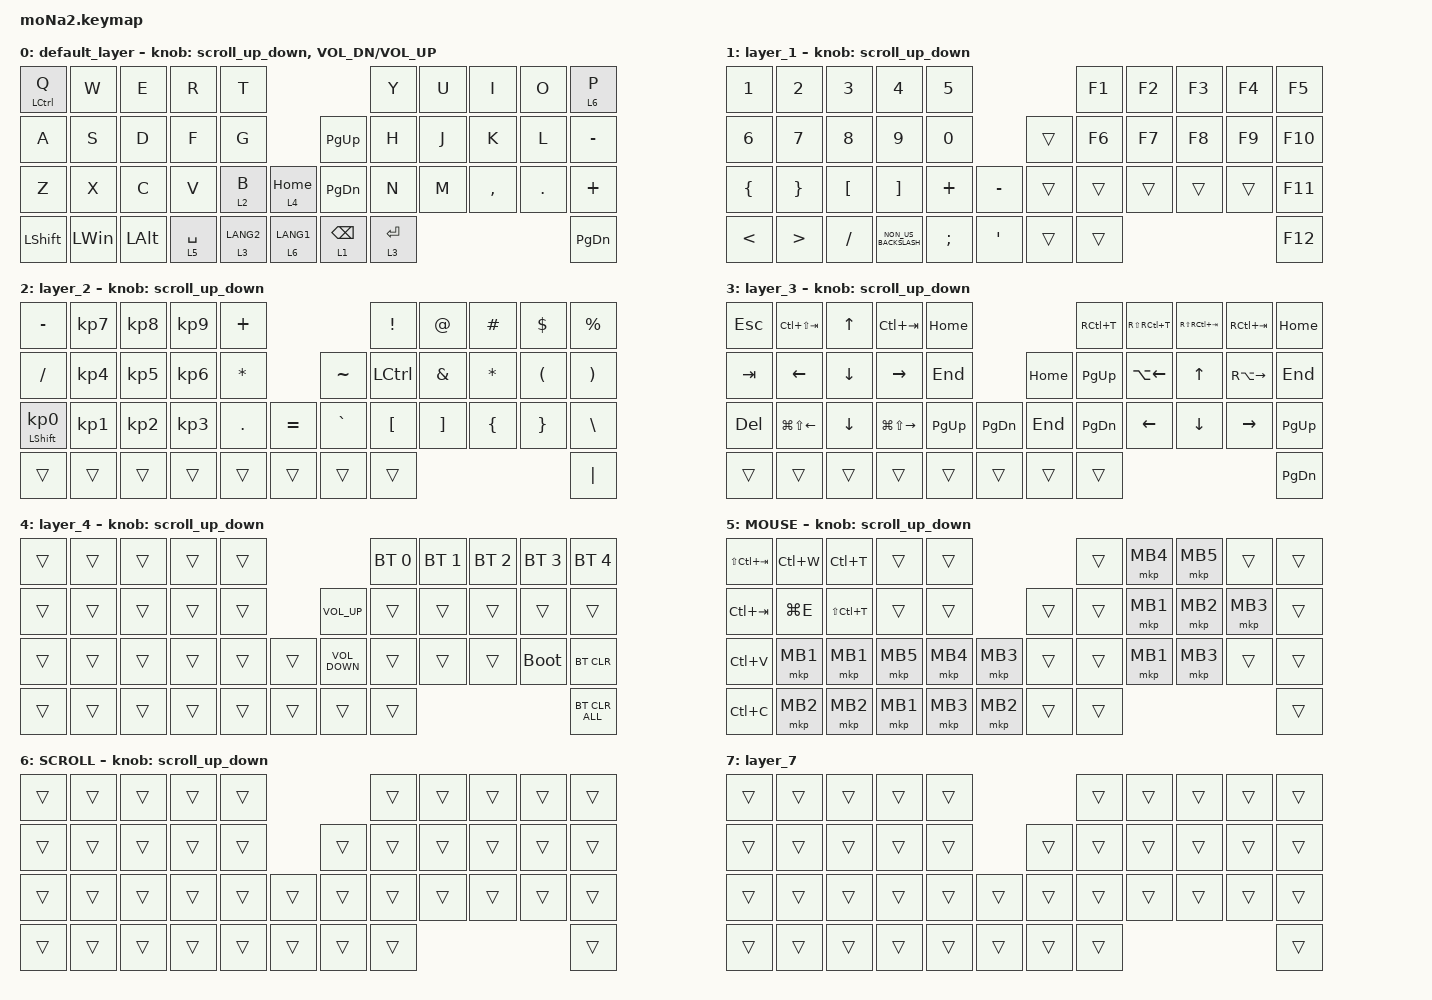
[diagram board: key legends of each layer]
#include <behaviors.dtsi>
#include <dt-bindings/zmk/bt.h>
#include <dt-bindings/zmk/keys.h>
#include <dt-bindings/zmk/pointing.h>

#define ZMK_POINTING_DEFAULT_SCRL_VAL 100
#define MOUSE 5
#define SCROLL 6

&mt {
    flavor = "balanced";
    quick-tap-ms = <0>;
};

/ {
    combos { compatible = "zmk,combos"; };

    macros {
        to_layer_0: to_layer_0 {
            compatible = "zmk,behavior-macro-one-param";
            #binding-cells = <1>;
            bindings = <&to 1 &macro_param_1to1 &kp MACRO_PLACEHOLDER>;
            label = "TO_LAYER_0";
        };
    };

    behaviors {
        lt_to_layer_0: lt_to_layer_0 {
            compatible = "zmk,behavior-hold-tap";
            label = "LAYER_TAP_TO_0";
            bindings = <&mo>, <&to_layer_0>;

            #binding-cells = <2>;
            tapping-term-ms = <200>;
        };

        scroll_up_down: behavior_sensor_rotate_mouse_wheel_up_down {
            compatible = "zmk,behavior-sensor-rotate";
            #sensor-binding-cells = <0>;
            bindings = <&msc SCRL_UP>, <&msc SCRL_DOWN>;

            tap-ms = <20>;
        };
    };

    keymap {
        compatible = "zmk,keymap";

        default_layer {
            bindings = <
&mt LCTRL Q  &kp W         &kp E         &kp R        &kp T                                        &kp Y        &kp U  &kp I      &kp O    &lt 6 P
&kp A        &kp S         &kp D         &kp F        &kp G                       &kp PAGE_UP      &kp H        &kp J  &kp K      &kp L    &kp MINUS
&kp Z        &kp X         &kp C         &kp V        &lt 2 B      &lt 4 HOME     &kp PAGE_DOWN    &kp N        &kp M  &kp COMMA  &kp DOT  &kp PLUS
&kp LSHFT    &kp LEFT_WIN  &kp LEFT_ALT  &lt 5 SPACE  &lt 3 LANG2  &lt 6 LANG1    &lt 1 BACKSPACE  &lt 3 ENTER                             &kp PAGE_DOWN
            >;

            sensor-bindings =
                <&scroll_up_down>,
                <&inc_dec_kp C_VOL_DN C_VOL_UP>;
        };

        layer_1 {
            bindings = <
&kp N1          &kp N2            &kp N3            &kp N4                &kp N5                              &kp F1  &kp F2  &kp F3  &kp F4  &kp F5
&kp N6          &kp N7            &kp N8            &kp N9                &kp N0                      &trans  &kp F6  &kp F7  &kp F8  &kp F9  &kp F10
&kp LEFT_BRACE  &kp RIGHT_BRACE   &kp LEFT_BRACKET  &kp RIGHT_BRACKET     &kp PLUS       &kp MINUS    &trans  &trans  &trans  &trans  &trans  &kp F11
&kp LESS_THAN   &kp GREATER_THAN  &kp SLASH         &kp NON_US_BACKSLASH  &kp SEMICOLON  &kp SQT      &trans  &trans                          &kp F12
            >;

            sensor-bindings = <&scroll_up_down>;
        };

        layer_2 {
            bindings = <
&kp MINUS                   &kp KP_NUMBER_7  &kp KP_NUMBER_8  &kp KP_NUMBER_9  &kp PLUS                              &kp EXCLAMATION   &kp AT_SIGN        &kp HASH        &kp DOLLAR            &kp PERCENT
&kp SLASH                   &kp KP_NUMBER_4  &kp KP_NUMBER_5  &kp KP_NUMBER_6  &kp ASTERISK               &kp TILDE  &kp LCTRL         &kp AMPERSAND      &kp ASTERISK    &kp LEFT_PARENTHESIS  &kp RIGHT_PARENTHESIS
&mt LEFT_SHIFT KP_NUMBER_0  &kp KP_NUMBER_1  &kp KP_NUMBER_2  &kp KP_NUMBER_3  &kp PERIOD    &kp EQUAL    &kp GRAVE  &kp LEFT_BRACKET  &kp RIGHT_BRACKET  &kp LEFT_BRACE  &kp RIGHT_BRACE       &kp BACKSLASH
&trans                      &trans           &trans           &trans           &trans        &trans       &trans     &trans                                                                     &kp PIPE
            >;

            sensor-bindings = <&scroll_up_down>;
        };

        layer_3 {
            bindings = <
&kp ESCAPE  &kp LC(LS(TAB))         &kp UP_ARROW    &kp LC(TAB)              &kp HOME                                &kp RC(T)      &kp RS(RC(T))       &kp RS(RC(TAB))  &kp RC(TAB)          &kp HOME
&kp TAB     &kp LEFT_ARROW          &kp DOWN_ARROW  &kp RIGHT_ARROW          &kp END                       &kp HOME  &kp PAGE_UP    &kp LA(LEFT_ARROW)  &kp UP_ARROW     &kp RA(RIGHT_ARROW)  &kp END
&kp DEL     &kp LG(LS(LEFT_ARROW))  &kp DOWN_ARROW  &kp LG(LS(RIGHT_ARROW))  &kp PAGE_UP  &kp PAGE_DOWN    &kp END   &kp PAGE_DOWN  &kp LEFT_ARROW      &kp DOWN_ARROW   &kp RIGHT_ARROW      &kp PAGE_UP
&trans      &trans                  &trans          &trans                   &trans       &trans           &trans    &trans                                                                   &kp PAGE_DOWN
            >;

            sensor-bindings = <&scroll_up_down>;
        };

        layer_4 {
            bindings = <
&trans  &trans  &trans  &trans  &trans                               &bt BT_SEL 0  &bt BT_SEL 1  &bt BT_SEL 2  &bt BT_SEL 3  &bt BT_SEL 4
&trans  &trans  &trans  &trans  &trans            &kp C_VOLUME_UP    &trans        &trans        &trans        &trans        &trans
&trans  &trans  &trans  &trans  &trans  &trans    &kp C_VOLUME_DOWN  &trans        &trans        &trans        &bootloader   &bt BT_CLR
&trans  &trans  &trans  &trans  &trans  &trans    &trans             &trans                                                  &bt BT_CLR_ALL
            >;

            sensor-bindings = <&scroll_up_down>;
        };

        MOUSE {
            bindings = <
&kp LS(LC(TAB))  &kp LC(W)  &kp LC(T)      &trans    &trans                        &trans  &mkp MB4  &mkp MB5  &trans    &trans
&kp LC(TAB)      &kp LG(E)  &kp LS(LC(T))  &trans    &trans                &trans  &trans  &mkp MB1  &mkp MB2  &mkp MB3  &trans
&kp LC(V)        &mkp MB1   &mkp MB1       &mkp MB5  &mkp MB4  &mkp MB3    &trans  &trans  &mkp MB1  &mkp MB3  &trans    &trans
&kp LC(C)        &mkp MB2   &mkp MB2       &mkp MB1  &mkp MB3  &mkp MB2    &trans  &trans                                &trans
            >;

            sensor-bindings = <&scroll_up_down>;
        };

        SCROLL {
            bindings = <
&trans  &trans  &trans  &trans  &trans                    &trans  &trans  &trans  &trans  &trans
&trans  &trans  &trans  &trans  &trans            &trans  &trans  &trans  &trans  &trans  &trans
&trans  &trans  &trans  &trans  &trans  &trans    &trans  &trans  &trans  &trans  &trans  &trans
&trans  &trans  &trans  &trans  &trans  &trans    &trans  &trans                          &trans
            >;

            sensor-bindings = <&scroll_up_down>;
        };

        layer_7 {
            bindings = <
&trans  &trans  &trans  &trans  &trans                    &trans  &trans  &trans  &trans  &trans
&trans  &trans  &trans  &trans  &trans            &trans  &trans  &trans  &trans  &trans  &trans
&trans  &trans  &trans  &trans  &trans  &trans    &trans  &trans  &trans  &trans  &trans  &trans
&trans  &trans  &trans  &trans  &trans  &trans    &trans  &trans                          &trans
            >;
        };
    };
};
